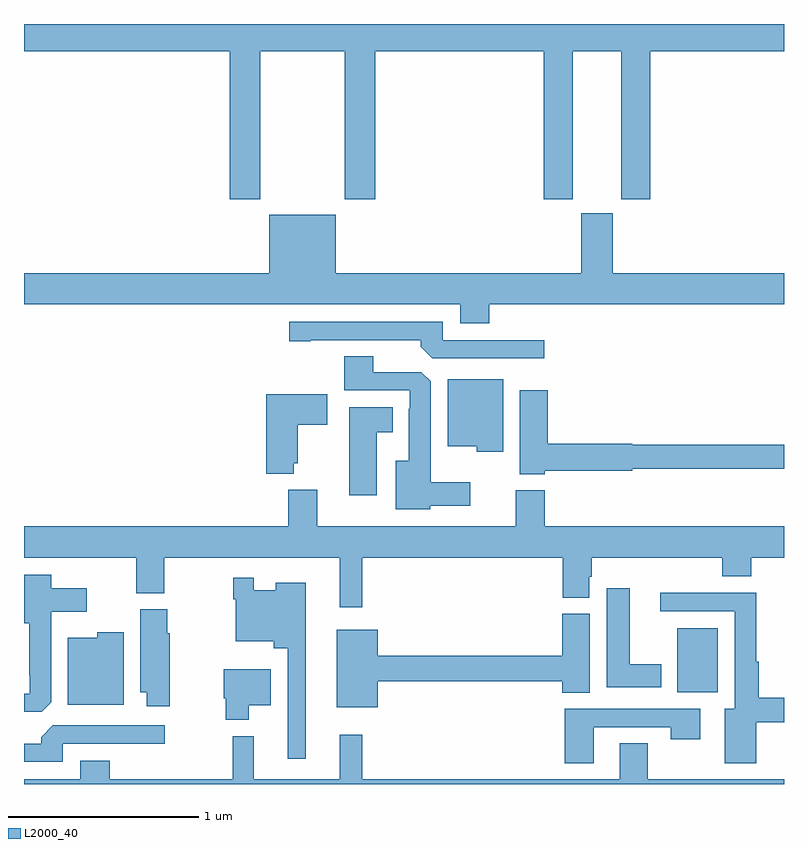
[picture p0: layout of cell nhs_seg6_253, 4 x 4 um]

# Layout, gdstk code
import gdstk
lib = gdstk.Library(unit=1e-6, precision=1e-09)
def R(c, l, rs):  # rectangles x0, y0, x1, y1
    for r in rs: c.add(gdstk.rectangle(r[:2], r[2:], *l))
def P(c, l, *ps):  # polygons
    for p in ps: c.add(gdstk.Polygon(p, *l))
L2000_40 = (2000, 40)

nhs_seg6_253 = lib.new_cell('nhs_seg6_253')
R(nhs_seg6_253, L2000_40, [(128.438,923.984,128.65,924.319)])
P(nhs_seg6_253, L2000_40, [(126.243,927.356),(126.688,927.356),(126.688,926.577),(126.848,926.577),(126.848,927.356),(127.736,927.356),(127.736,926.577),(127.888,926.577),(127.888,927.356),(128.144,927.356),(128.144,926.577),(128.297,926.577),(128.297,927.356),(129,927.356),(129,927.5),(125,927.5),(125,927.356),(126.083,927.356),(126.083,926.577),(126.243,926.577)],
  [(127.448,926.024),(129,926.024),(129,926.188),(128.098,926.188),(128.098,926.505),(127.934,926.505),(127.934,926.188),(126.64,926.188),(126.64,926.497),(126.29,926.497),(126.29,926.188),(125,926.188),(125,926.024),(127.295,926.024),(127.295,925.925),(127.448,925.925)],
  [(127.738,925.836),(127.203,925.836),(127.203,925.932),(126.396,925.932),(126.396,925.831),(126.508,925.831),(126.508,925.836),(127.088,925.836),(127.088,925.802),(127.149,925.74),(127.738,925.74)],
  [(127.137,924.965),(127.348,924.965),(127.348,925.087),(127.141,925.087),(127.141,925.619),(127.092,925.668),(126.838,925.668),(126.838,925.751),(126.686,925.751),(126.686,925.572),(127.029,925.572),(127.029,925.475),(127.025,925.475),(127.025,925.201),(126.956,925.201),(126.956,924.947),(127.137,924.947)],
  [(127.522,925.63),(127.229,925.63),(127.229,925.277),(127.383,925.277),(127.383,925.25),(127.522,925.25)],
  [(127.74,925.15),(128.202,925.15),(128.202,925.158),(129,925.158),(129,925.286),(128.202,925.286),(128.202,925.292),(127.757,925.292),(127.757,925.573),(127.61,925.573),(127.61,925.13),(127.74,925.13)],
  [(126.42,925.187),(126.442,925.187),(126.442,925.39),(126.595,925.39),(126.595,925.552),(126.275,925.552),(126.275,925.133),(126.42,925.133)],
  [(126.856,925.352),(126.94,925.352),(126.94,925.483),(126.713,925.483),(126.713,925.02),(126.856,925.02)],
  [(126.779,924.692),(127.835,924.692),(127.835,924.481),(127.975,924.481),(127.975,924.591),(127.988,924.591),(127.988,924.692),(128.675,924.692),(128.675,924.593),(128.827,924.593),(128.827,924.692),(129,924.692),(129,924.856),(127.742,924.856),(127.742,925.045),(127.589,925.045),(127.589,924.856),(126.544,924.856),(126.544,925.048),(126.392,925.048),(126.392,924.856),(125,924.856),(125,924.692),(125.591,924.692),(125.591,924.505),(125.739,924.505),(125.739,924.692),(126.662,924.692),(126.662,924.429),(126.779,924.429)],
  [(125.143,923.929),(125.143,924.407),(125.329,924.407),(125.329,924.529),(125.143,924.529),(125.143,924.601),(125,924.601),(125,924.347),(125.027,924.347),(125.027,924.073),(125.031,924.073),(125.031,923.976),(125,923.976),(125,923.88),(125.094,923.88)],
  [(126.484,924.559),(126.326,924.559),(126.326,924.52),(126.21,924.52),(126.21,924.586),(126.102,924.586),(126.102,924.473),(126.114,924.473),(126.114,924.251),(126.314,924.251),(126.314,924.215),(126.387,924.215),(126.387,923.634),(126.484,923.634)],
  [(128.353,924.13),(128.188,924.13),(128.188,924.529),(128.066,924.529),(128.066,924.008),(128.353,924.008)],
  [(128.854,923.825),(129,923.825),(129,923.955),(128.867,923.955),(128.867,924.143),(128.854,924.143),(128.854,924.506),(128.349,924.506),(128.349,924.408),(128.741,924.408),(128.741,923.896),(128.687,923.896),(128.687,923.61),(128.854,923.61)],
  [(125.767,924.294),(125.754,924.294),(125.754,924.42),(125.612,924.42),(125.612,923.984),(125.645,923.984),(125.645,923.91),(125.767,923.91)],
  [(126.862,924.04),(127.832,924.04),(127.832,923.98),(127.978,923.98),(127.978,924.396),(127.832,924.396),(127.832,924.176),(126.862,924.176),(126.862,924.313),(126.647,924.313),(126.647,923.903),(126.862,923.903)],
  [(125.524,924.298),(125.385,924.298),(125.385,924.271),(125.231,924.271),(125.231,923.918),(125.524,923.918)],
  [(126.184,923.915),(126.298,923.915),(126.298,924.103),(126.05,924.103),(126.05,923.952),(126.062,923.952),(126.062,923.837),(126.184,923.837)],
  [(127.999,923.799),(128.404,923.799),(128.404,923.736),(128.56,923.736),(128.56,923.895),(127.847,923.895),(127.847,923.61),(127.999,923.61)],
  [(125.205,923.712),(125.74,923.712),(125.74,923.808),(125.151,923.808),(125.09,923.746),(125.09,923.712),(125,923.712),(125,923.616),(125.205,923.616)],
  [(129,923.524),(128.283,923.524),(128.283,923.714),(128.135,923.714),(128.135,923.524),(126.779,923.524),(126.779,923.758),(126.662,923.758),(126.662,923.524),(126.209,923.524),(126.209,923.752),(126.099,923.752),(126.099,923.524),(125.45,923.524),(125.45,923.623),(125.297,923.623),(125.297,923.524),(125,923.524),(125,923.5),(129,923.5)])

lib.write_gds('nhs_seg6_253.gds')
